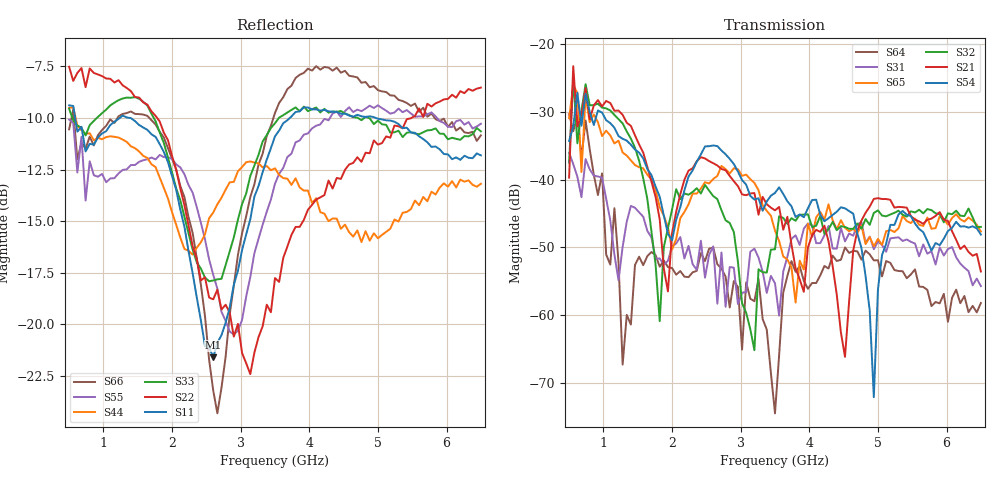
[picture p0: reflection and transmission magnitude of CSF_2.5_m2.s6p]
!Keysight Technologies,M9804A,MY58100912,A.14.10.03
!Date: Thursday, April 27, 2023 10:28:33
!Correction: S11(C  6-Port  )
!S12(C  6-Port  )
!S13(C  6-Port  )
!S14(C  6-Port  )
!S15(C  6-Port  )
!S16(C  6-Port  )
!S21(C  6-Port  )
!S22(C  6-Port  )
!S23(C  6-Port  )
!S24(C  6-Port  )
!S25(C  6-Port  )
!S26(C  6-Port  )
!S31(C  6-Port  )
!S32(C  6-Port  )
!S33(C  6-Port  )
!S34(C  6-Port  )
!S35(C  6-Port  )
!S36(C  6-Port  )
!S41(C  6-Port  )
!S42(C  6-Port  )
!S43(C  6-Port  )
!S44(C  6-Port  )
!S45(C  6-Port  )
!S46(C  6-Port  )
!S51(C  6-Port  )
!S52(C  6-Port  )
!S53(C  6-Port  )
!S54(C  6-Port  )
!S55(C  6-Port  )
!S56(C  6-Port  )
!S61(C  6-Port  )
!S62(C  6-Port  )
!S63(C  6-Port  )
!S64(C  6-Port  )
!S65(C  6-Port  )
!S66(C  6-Port  )
!S6P File: Measurement: :
# Hz S  RI  R 50
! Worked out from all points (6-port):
!   101 points, 500 MHz to 6.5 GHz, reference 50 ohm
!   strongest paths, dB at 500 MHz, 2 GHz, 3.5 GHz, 5 GHz, 6.5 GHz:
!     S54: -34.3, -49.0, -42.0, -56.2, -48.1
!     S21: -39.7, -47.9, -44.5, -42.7, -53.6
!     S32: -37.5, -44.4, -50.3, -44.5, -47.0
!     S65: -31.0, -50.3, -47.5, -48.7, -47.7
!     S31: -36.0, -49.9, -55.3, -49.1, -55.7
!     S64: -30.3, -53.0, -74.5, -51.9, -58.2
!   lowest |S11| = -21.6 dB at 2.6 GHz (marker M1), VSWR 1.18, Z = 42.6 + j2.05 ohm
!   |S11| at or under -10 dB: 588.1 MHz to 1.236 GHz (648.2 MHz wide, 71.1 % of centre); 1.397 GHz to 3.715 GHz (2.318 GHz wide, 90.7 % of centre); 4.973 GHz to end of sweep
